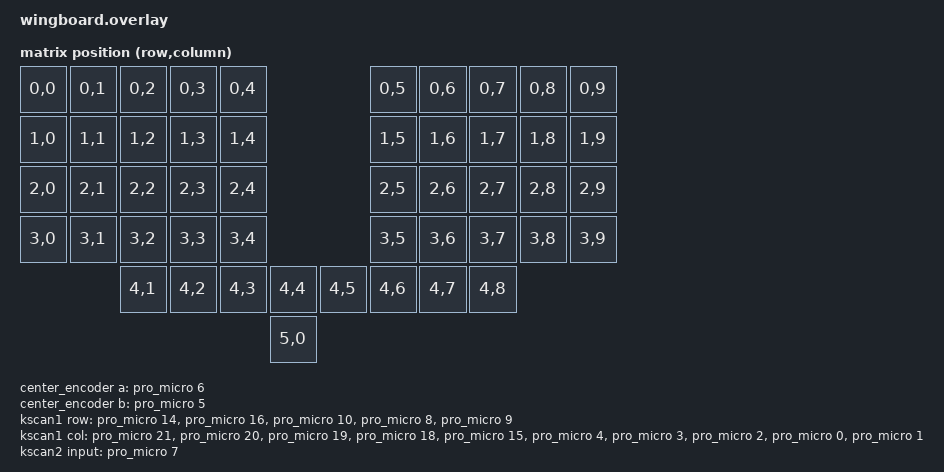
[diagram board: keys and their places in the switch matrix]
#include <dt-bindings/zmk/matrix_transform.h>
#include "wingboard-layouts.dtsi"

&physical_layout0 {
    transform = <&default_transform>;
};

/ {
    chosen {
        zmk,kscan = &kscan0;
        zmk,physical-layout = &physical_layout0;
    };

    center_encoder: center_encoder {
        compatible = "alps,ec11";
        a-gpios = <&pro_micro 6 (GPIO_ACTIVE_HIGH | GPIO_PULL_UP)>;
        b-gpios = <&pro_micro 5 (GPIO_ACTIVE_HIGH | GPIO_PULL_UP)>;
        steps = <20>;
        status = "okay";
    };

    kscan0: kscan_composite {
        compatible = "zmk,kscan-composite";
        rows = <10>;
        columns = <6>;

        // Include the matrix driver
        matrix {
            kscan = <&kscan1>;
        };

        // Include the direct GPIO driver...
        direct {
            kscan = <&kscan2>;
            row-offset = <5>; // ...and shift it to not overlap
        };
    };

    kscan1: kscan_matrix {
        compatible = "zmk,kscan-gpio-matrix";
        label = "Matrix-KScan";
        diode-direction = "col2row";
        wakeup-source;

        col-gpios
            = <&pro_micro 21 GPIO_ACTIVE_HIGH>
            , <&pro_micro 20 GPIO_ACTIVE_HIGH>
            , <&pro_micro 19 GPIO_ACTIVE_HIGH>
            , <&pro_micro 18 GPIO_ACTIVE_HIGH>
            , <&pro_micro 15 GPIO_ACTIVE_HIGH>
            , <&pro_micro 4 GPIO_ACTIVE_HIGH>
            , <&pro_micro 3 GPIO_ACTIVE_HIGH>
            , <&pro_micro 2 GPIO_ACTIVE_HIGH>
            , <&pro_micro 0 GPIO_ACTIVE_HIGH>
            , <&pro_micro 1 GPIO_ACTIVE_HIGH>
            ;

        row-gpios
            = <&pro_micro 14 (GPIO_ACTIVE_HIGH | GPIO_PULL_DOWN)>
            , <&pro_micro 16 (GPIO_ACTIVE_HIGH | GPIO_PULL_DOWN)>
            , <&pro_micro 10 (GPIO_ACTIVE_HIGH | GPIO_PULL_DOWN)>
            , <&pro_micro 8 (GPIO_ACTIVE_HIGH | GPIO_PULL_DOWN)>
            , <&pro_micro 9 (GPIO_ACTIVE_HIGH | GPIO_PULL_DOWN)>
            ;
    };

    kscan2: kscan_direct {
        compatible = "zmk,kscan-gpio-direct";
        label = "Direct-KScan";
        wakeup-source;
        input-gpios
            = <&pro_micro 7 (GPIO_ACTIVE_LOW | GPIO_PULL_UP)>   // P0.11 connected to the push button on the EC11 encoder
            ;
    };

    default_transform: keymap_transform_0 {
        compatible = "zmk,matrix-transform";
        columns = <10>;
        rows = <6>;

        map = <
          RC(0,0) RC(0,1) RC(0,2) RC(0,3) RC(0,4)                 RC(0,5) RC(0,6) RC(0,7) RC(0,8) RC(0,9)
          RC(1,0) RC(1,1) RC(1,2) RC(1,3) RC(1,4)                 RC(1,5) RC(1,6) RC(1,7) RC(1,8) RC(1,9)
          RC(2,0) RC(2,1) RC(2,2) RC(2,3) RC(2,4)                 RC(2,5) RC(2,6) RC(2,7) RC(2,8) RC(2,9)
          RC(3,0) RC(3,1) RC(3,2) RC(3,3) RC(3,4)                 RC(3,5) RC(3,6) RC(3,7) RC(3,8) RC(3,9)
                          RC(4,1) RC(4,2) RC(4,3) RC(4,4) RC(4,5) RC(4,6) RC(4,7) RC(4,8)
                                                     RC(5,0)    //Encoder button
        >;
    };
};

&pinctrl {
    spi0_default: spi0_default {
        group1 {
            psels = <NRF_PSEL(SPIM_MOSI, 1, 7)>,    // Set P1.07 as MOSI
                    <NRF_PSEL(SPIM_SCK, 1, 2)>;     // Set P1.02 as SCK
        };
    };
    
    spi0_sleep: spi0_sleep {
        group1 {
            psels = <NRF_PSEL(SPIM_MOSI, 1, 7)>,    // Set P1.07 as MOSI
                    <NRF_PSEL(SPIM_SCK, 1, 2)>;     // Set P1.02 as SCK
            low-power-enable;
        };
    };
};

nice_view_spi: &spi0 {
    compatible = "nordic,nrf-spim";
    pinctrl-0 = <&spi0_default>;
    pinctrl-1 = <&spi0_sleep>;
    pinctrl-names = "default", "sleep";
    cs-gpios = <&gpio1 1 GPIO_ACTIVE_HIGH>;
};
